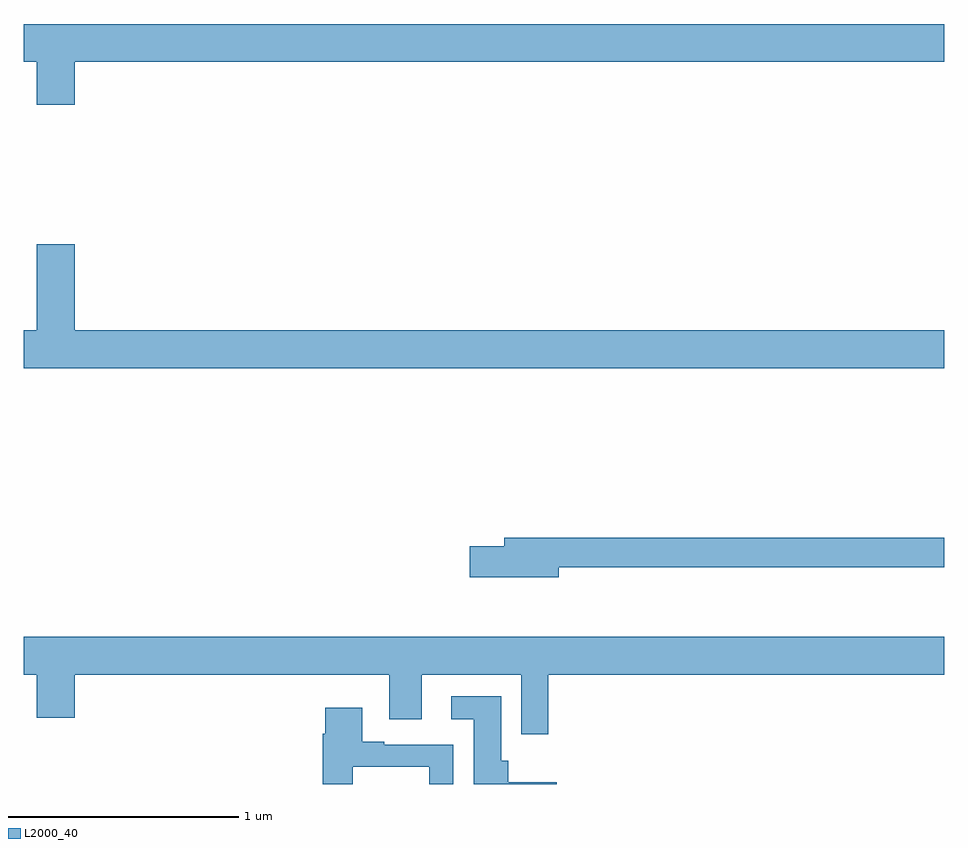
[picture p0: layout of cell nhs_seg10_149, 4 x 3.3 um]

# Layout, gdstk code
import gdstk
lib = gdstk.Library(unit=1e-6, precision=1e-09)
def P(c, l, *ps):  # polygons
    for p in ps: c.add(gdstk.Polygon(p, *l))
L2000_40 = (2000, 40)

nhs_seg10_149 = lib.new_cell('nhs_seg10_149')
P(nhs_seg10_149, L2000_40, [(117.22,1309.64),(121,1309.64),(121,1309.804),(117,1309.804),(117,1309.64),(117.056,1309.64),(117.056,1309.452),(117.22,1309.452)],
  [(121,1308.472),(117.22,1308.472),(117.22,1308.847),(117.056,1308.847),(117.056,1308.472),(117,1308.472),(117,1308.308),(121,1308.308)],
  [(119.326,1307.442),(121,1307.442),(121,1307.57),(119.087,1307.57),(119.087,1307.534),(118.938,1307.534),(118.938,1307.399),(119.326,1307.399)],
  [(119.279,1306.976),(121,1306.976),(121,1307.14),(117,1307.14),(117,1306.976),(117.056,1306.976),(117.056,1306.788),(117.22,1306.788),(117.22,1306.976),(118.589,1306.976),(118.589,1306.782),(118.729,1306.782),(118.729,1306.976),(119.163,1306.976),(119.163,1306.716),(119.279,1306.716)],
  [(119.317,1306.507),(119.105,1306.507),(119.105,1306.602),(119.074,1306.602),(119.074,1306.882),(118.857,1306.882),(118.857,1306.781),(118.955,1306.781),(118.955,1306.5),(119.317,1306.5)],
  [(118.429,1306.575),(118.763,1306.575),(118.763,1306.5),(118.867,1306.5),(118.867,1306.671),(118.567,1306.671),(118.567,1306.684),(118.471,1306.684),(118.471,1306.831),(118.31,1306.831),(118.31,1306.718),(118.298,1306.718),(118.298,1306.5),(118.429,1306.5)])

lib.write_gds('nhs_seg10_149.gds')
